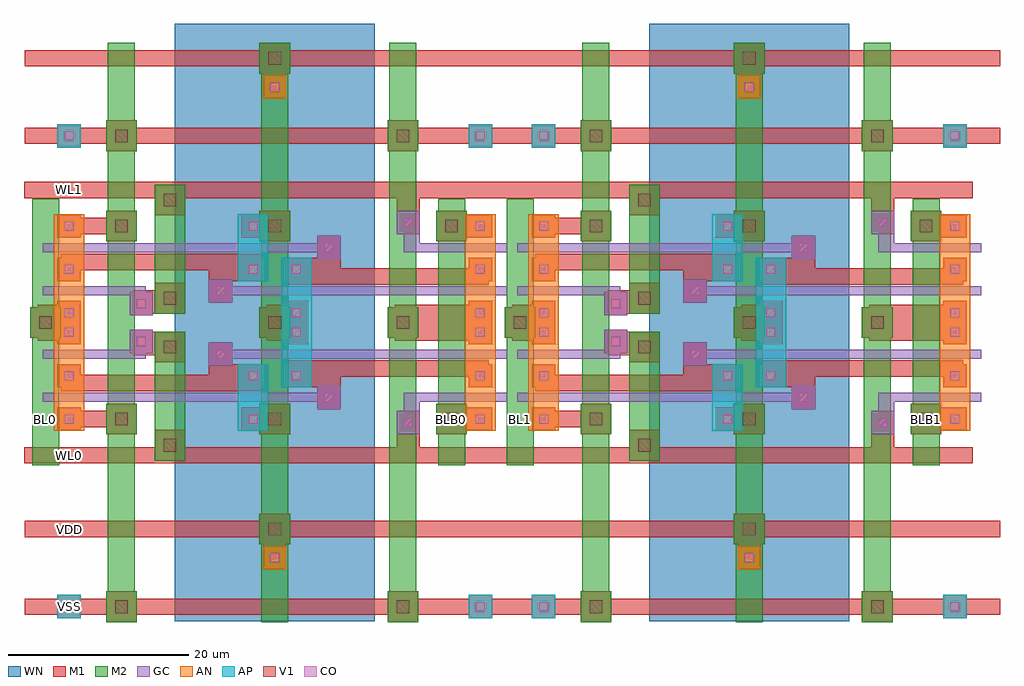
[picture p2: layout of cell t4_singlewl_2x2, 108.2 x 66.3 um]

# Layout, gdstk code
import gdstk
lib = gdstk.Library(unit=1e-6, precision=1e-07)
def R(c, l, rs):  # rectangles x0, y0, x1, y1
    for r in rs: c.add(gdstk.rectangle(r[:2], r[2:], *l))
def A(c, l, x, y, w, h, nx, ny, dx, dy):  # array of equal rectangles
    R(c, l, [(x+i*dx, y+j*dy, x+i*dx+w, y+j*dy+h) for i in range(nx) for j in range(ny)])
def P(c, l, *ps):  # polygons
    for p in ps: c.add(gdstk.Polygon(p, *l))
AP = (3, 1)
AN = (3, 2)
GC = (8, 1)
CO = (11, 0)
M1 = (13, 0)
V1 = (19, 0)
M2 = (20, 0)
WN = (140, 0)

t4_shared_via_core = lib.new_cell('t4_shared_via_core')
R(t4_shared_via_core, AP, [(18.7,-1.3,22.1,6.1), (23.5,3.5,26.9,10.9)])
R(t4_shared_via_core, AN, [(-1.7,-1.3,1.7,10.9), (43.9,-1.3,47.3,10.9)])
P(t4_shared_via_core, GC, [(36.3,-1.7),(36.3,0.9),(37.1,0.9),(37.1,2.9),(48.5,2.9),(48.5,1.9),(38.9,1.9),(38.9,-1.7)],
  [(27.5,1.1),(27.5,1.9),(-2.9,1.9),(-2.9,2.9),(27.5,2.9),(27.5,3.7),(30.1,3.7),(30.1,1.1)],
  [(15.5,5.9),(15.5,8.5),(18.1,8.5),(18.1,7.7),(48.5,7.7),(48.5,6.7),(18.1,6.7),(18.1,5.9)],
  [(-2.9,6.7),(-2.9,7.7),(6.7,7.7),(6.7,9.9),(9.3,9.9),(9.3,7.3),(8.5,7.3),(8.5,6.7)])
A(t4_shared_via_core, CO, -0.5, -0.5, 1, 1, 1, 3, 0, 4.8)
A(t4_shared_via_core, CO, 45.1, -0.5, 1, 1, 1, 3, 0, 4.8)
R(t4_shared_via_core, CO, [(37.1,-0.9,38.1,0.1), (19.9,-0.5,20.9,0.5), (28.3,1.9,29.3,2.9), (19.9,4.3,20.9,5.3), (24.7,4.3,25.7,5.3), (16.3,6.7,17.3,7.7), (7.5,8.1,8.5,9.1), (24.7,9.1,25.7,10.1)])
P(t4_shared_via_core, M1, [(-5,-4.9),(-5,-3.1),(9.5,-3.1),(9.5,-1.2),(12.9,-1.2),(12.9,-3.1),(36.3,-3.1),(36.3,0.9),(38.9,0.9),(38.9,-3.1),(47.6,-3.1),(47.6,-4.9)],
  [(4.1,-1.7),(4.1,-0.9),(1.3,-0.9),(1.3,-1.3),(-1.3,-1.3),(-1.3,1.3),(1.3,1.3),(1.3,0.9),(4.1,0.9),(4.1,1.7),(7.5,1.7),(7.5,-1.7)],
  [(21.1,-1.7),(21.1,-1.3),(19.1,-1.3),(19.1,1.3),(21.1,1.3),(21.1,1.7),(24.5,1.7),(24.5,-1.7)],
  [(40.7,-1.7),(40.7,1.7),(44.1,1.7),(44.1,1.3),(46.9,1.3),(46.9,-1.3),(44.1,-1.3),(44.1,-1.7)],
  [(27.5,1.1),(27.5,3.5),(23.9,3.5),(23.9,6.1),(24.3,6.1),(24.3,6.5),(46.5,6.5),(46.5,6.1),(46.9,6.1),(46.9,3.5),(44.3,3.5),(44.3,4.7),(30.1,4.7),(30.1,1.1)],
  [(-0.9,3.1),(-0.9,3.5),(-1.3,3.5),(-1.3,6.1),(1.3,6.1),(1.3,4.9),(15.5,4.9),(15.5,8.5),(18.1,8.5),(18.1,6.1),(21.7,6.1),(21.7,3.5),(21.3,3.5),(21.3,3.1)],
  [(9.5,6.3),(9.5,7.1),(7.1,7.1),(7.1,7.3),(6.7,7.3),(6.7,9.9),(9.3,9.9),(9.3,9.7),(12.9,9.7),(12.9,6.3)],
  [(-1.3,8.3),(-1.3,8.7),(-3.5,8.7),(-3.5,10.5),(-1.3,10.5),(-1.3,10.9),(1.3,10.9),(1.3,8.3)],
  [(23.9,8.3),(23.9,8.7),(21.9,8.7),(21.9,10.5),(23.9,10.5),(23.9,10.9),(26.5,10.9),(26.5,8.3)],
  [(44.3,8.3),(44.3,8.7),(36.1,8.7),(36.1,10.5),(44.3,10.5),(44.3,10.9),(46.9,10.9),(46.9,8.3)])
R(t4_shared_via_core, V1, [(10.5,-3.6,11.9,-2.2), (5.1,-0.7,6.5,0.7), (22.1,-0.7,23.5,0.7), (41.7,-0.7,43.1,0.7), (10.5,7.3,11.9,8.7)])
R(t4_shared_via_core, M2, [(9.5,-4.6,12.9,-1.2), (9.5,-4.6,12.9,9.7), (4.1,-1.7,7.5,1.7), (21.1,-1.7,24.5,1.7), (40.7,-1.7,44.1,1.7), (9.5,6.3,12.9,9.7)])
R(t4_shared_via_core, WN, [(11.7,-8.3,33.9,17.9)])

t4_singlewl_2x2 = lib.new_cell('t4_singlewl_2x2')
R(t4_singlewl_2x2, AP, [(-1.3,-22.1,1.3,-19.5), (44.3,-22.1,46.9,-19.5), (51.3,-22.1,53.9,-19.5), (96.9,-22.1,99.5,-19.5), (23.5,9.6,26.9,11.8), (76.1,9.6,79.5,11.8), (-1.3,30.1,1.3,32.7), (44.3,30.1,46.9,32.7), (51.3,30.1,53.9,32.7), (96.9,30.1,99.5,32.7)])
R(t4_singlewl_2x2, AN, [(21.5,-16.7,24.1,-14.1), (74.1,-16.7,76.7,-14.1), (-1.7,9.6,1.7,11.8), (43.9,9.6,47.3,11.8), (50.9,9.6,54.3,11.8), (96.5,9.6,99.9,11.8), (21.5,35.5,24.1,38.1), (74.1,35.5,76.7,38.1)])
R(t4_singlewl_2x2, CO, [(-0.5,-21.3,0.5,-20.3), (45.1,-21.3,46.1,-20.3), (52.1,-21.3,53.1,-20.3), (97.7,-21.3,98.7,-20.3), (22.3,-15.9,23.3,-14.9), (74.9,-15.9,75.9,-14.9), (-0.5,30.9,0.5,31.9), (45.1,30.9,46.1,31.9), (52.1,30.9,53.1,31.9), (97.7,30.9,98.7,31.9), (22.3,36.3,23.3,37.3), (74.9,36.3,75.9,37.3)])
R(t4_singlewl_2x2, M1, [(4.1,-22.5,7.5,-19.1), (35.3,-22.5,38.7,-19.1), (56.7,-22.5,60.1,-19.1), (87.9,-22.5,91.3,-19.1), (-1.3,-22.1,1.3,-19.5), (44.3,-22.1,46.9,-19.5), (51.3,-22.1,53.9,-19.5), (96.9,-22.1,99.5,-19.5), (-4.9,-21.7,103.2,-19.9), (-4.9,-21.7,103.2,-19.9), (-0.9,-21.7,6.7,-19.9), (36.1,-21.7,46.5,-19.9), (51.7,-21.7,59.3,-19.9), (88.7,-21.7,99.1,-19.9), (21.5,-16.7,24.1,-14.1), (74.1,-16.7,76.7,-14.1), (21.9,-16.3,23.7,-11.3), (74.5,-16.3,76.3,-11.3), (21.5,-14.1,21.9,-13.9), (23.7,-14.1,24.1,-13.9), (74.1,-14.1,74.5,-13.9), (76.3,-14.1,76.7,-13.9), (21.1,-13.9,24.5,-10.5), (73.7,-13.9,77.1,-10.5), (-4.9,-13.1,103.2,-11.3), (-4.9,-13.1,103.2,-11.3), (-4.3,9,-0.9,12.4), (21.1,9,24.5,12.4), (35.3,9,38.7,12.4), (48.3,9,51.7,12.4), (73.7,9,77.1,12.4), (87.9,9,91.3,12.4), (38.7,10.5,44.3,10.9), (91.3,10.5,96.9,10.9), (4.1,29.7,7.5,33.1), (35.3,29.7,38.7,33.1), (56.7,29.7,60.1,33.1), (87.9,29.7,91.3,33.1), (-1.3,30.1,1.3,32.7), (44.3,30.1,46.9,32.7), (51.3,30.1,53.9,32.7), (96.9,30.1,99.5,32.7), (-4.9,30.5,103.2,32.3), (-4.9,30.5,103.2,32.3), (-0.9,30.5,6.7,32.3), (36.1,30.5,46.5,32.3), (51.7,30.5,59.3,32.3), (88.7,30.5,99.1,32.3), (21.5,35.5,24.1,38.1), (74.1,35.5,76.7,38.1), (21.9,35.9,23.7,40.9), (74.5,35.9,76.3,40.9), (21.5,38.1,21.9,38.3), (23.7,38.1,24.1,38.3), (74.1,38.1,74.5,38.3), (76.3,38.1,76.7,38.3), (21.1,38.3,24.5,41.7), (73.7,38.3,77.1,41.7), (-4.9,39.1,103.2,40.9), (-4.9,39.1,103.2,40.9)])
R(t4_singlewl_2x2, V1, [(5.1,-21.5,6.5,-20.1), (36.3,-21.5,37.7,-20.1), (57.7,-21.5,59.1,-20.1), (88.9,-21.5,90.3,-20.1), (22.1,-12.9,23.5,-11.5), (74.7,-12.9,76.1,-11.5), (-3.3,10,-1.9,11.4), (22.1,10,23.5,11.4), (36.3,10,37.7,11.4), (49.3,10,50.7,11.4), (74.7,10,76.1,11.4), (88.9,10,90.3,11.4), (5.1,30.7,6.5,32.1), (36.3,30.7,37.7,32.1), (57.7,30.7,59.1,32.1), (88.9,30.7,90.3,32.1), (22.1,39.3,23.5,40.7), (74.7,39.3,76.1,40.7)])
R(t4_singlewl_2x2, M2, [(4.1,-22.5,7.5,-19.1), (4.3,-22.5,7.3,41.7), (21.3,-22.5,24.3,41.7), (35.3,-22.5,38.7,-19.1), (35.5,-22.5,38.5,41.7), (56.7,-22.5,60.1,-19.1), (56.9,-22.5,59.9,41.7), (73.9,-22.5,76.9,41.7), (87.9,-22.5,91.3,-19.1), (88.1,-22.5,91.1,41.7), (21.1,-13.9,24.5,-10.5), (73.7,-13.9,77.1,-10.5), (-4.1,-5.1,-1.1,24.4), (40.9,-5.1,43.9,24.4), (48.5,-5.1,51.5,24.4), (93.5,-5.1,96.5,24.4), (-4.3,9,-0.9,12.4), (21.1,9,24.5,12.4), (35.3,9,38.7,12.4), (48.3,9,51.7,12.4), (73.7,9,77.1,12.4), (87.9,9,91.3,12.4), (4.1,29.7,7.5,33.1), (35.3,29.7,38.7,33.1), (56.7,29.7,60.1,33.1), (87.9,29.7,91.3,33.1), (21.1,38.3,24.5,41.7), (73.7,38.3,77.1,41.7)])
R(t4_singlewl_2x2, WN, [(11.7,-22.4,33.9,43.8), (64.3,-22.4,86.5,43.8)])
t4_singlewl_2x2.add(gdstk.Reference(t4_shared_via_core, (0,0)))
t4_singlewl_2x2.add(gdstk.Reference(t4_shared_via_core, (52.6,0)))
t4_singlewl_2x2.add(gdstk.Reference(t4_shared_via_core, (0,21.4), x_reflection=True))
t4_singlewl_2x2.add(gdstk.Reference(t4_shared_via_core, (52.6,21.4), x_reflection=True))
t4_singlewl_2x2.add(gdstk.Label('WL0', (0,-4), layer=48, texttype=0))
t4_singlewl_2x2.add(gdstk.Label('WL1', (0,25.4), layer=48, texttype=0))
t4_singlewl_2x2.add(gdstk.Label('VDD', (0,-12.2), layer=48, texttype=0))
t4_singlewl_2x2.add(gdstk.Label('VSS', (0,-20.8), layer=48, texttype=0))
t4_singlewl_2x2.add(gdstk.Label('BL0', (-2.6,0), layer=49, texttype=0))
t4_singlewl_2x2.add(gdstk.Label('BLB0', (42.4,0), layer=49, texttype=0))
t4_singlewl_2x2.add(gdstk.Label('BL1', (50,0), layer=49, texttype=0))
t4_singlewl_2x2.add(gdstk.Label('BLB1', (95,0), layer=49, texttype=0))

lib.write_gds('t4_singlewl_2x2.gds')
